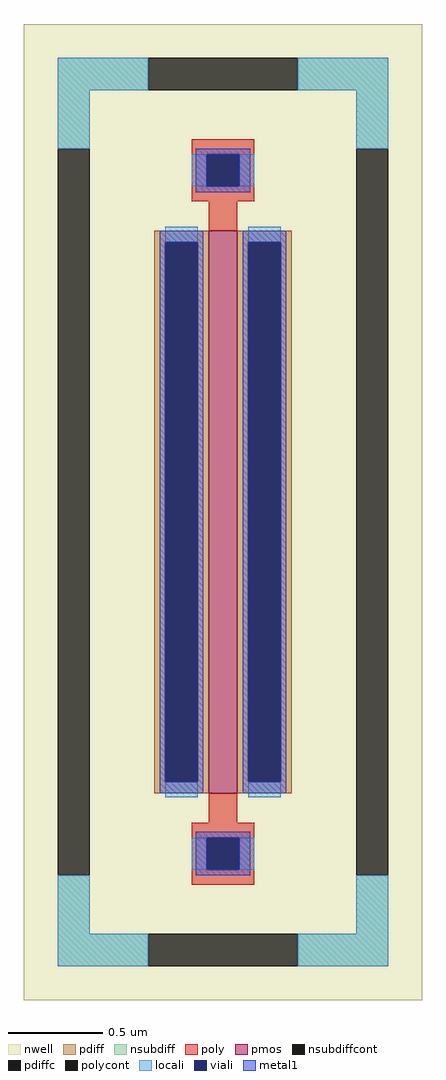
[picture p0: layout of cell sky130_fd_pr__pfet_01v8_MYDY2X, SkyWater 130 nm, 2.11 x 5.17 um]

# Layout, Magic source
magic
tech sky130A
magscale 1 2
<< nwell >>
rect -211 -517 211 517
<< pmos >>
rect -15 -298 15 298
<< pdiff >>
rect -73 286 -15 298
rect -73 -286 -61 286
rect -27 -286 -15 286
rect -73 -298 -15 -286
rect 15 286 73 298
rect 15 -286 27 286
rect 61 -286 73 286
rect 15 -298 73 -286
<< pdiffc >>
rect -61 -286 -27 286
rect 27 -286 61 286
<< nsubdiff >>
rect -175 447 -79 481
rect 79 447 175 481
rect -175 385 -141 447
rect 141 385 175 447
rect -175 -447 -141 -385
rect 141 -447 175 -385
rect -175 -481 -79 -447
rect 79 -481 175 -447
<< nsubdiffcont >>
rect -79 447 79 481
rect -175 -385 -141 385
rect 141 -385 175 385
rect -79 -481 79 -447
<< poly >>
rect -33 379 33 395
rect -33 345 -17 379
rect 17 345 33 379
rect -33 329 33 345
rect -15 298 15 329
rect -15 -329 15 -298
rect -33 -345 33 -329
rect -33 -379 -17 -345
rect 17 -379 33 -345
rect -33 -395 33 -379
<< polycont >>
rect -17 345 17 379
rect -17 -379 17 -345
<< locali >>
rect -175 447 -79 481
rect 79 447 175 481
rect -175 385 -141 447
rect 141 385 175 447
rect -33 345 -17 379
rect 17 345 33 379
rect -61 286 -27 302
rect -61 -302 -27 -286
rect 27 286 61 302
rect 27 -302 61 -286
rect -33 -379 -17 -345
rect 17 -379 33 -345
rect -175 -447 -141 -385
rect 141 -447 175 -385
rect -175 -481 -79 -447
rect 79 -481 175 -447
<< viali >>
rect -17 345 17 379
rect -61 -286 -27 286
rect 27 -286 61 286
rect -17 -379 17 -345
<< metal1 >>
rect -29 379 29 385
rect -29 345 -17 379
rect 17 345 29 379
rect -29 339 29 345
rect -67 286 -21 298
rect -67 -286 -61 286
rect -27 -286 -21 286
rect -67 -298 -21 -286
rect 21 286 67 298
rect 21 -286 27 286
rect 61 -286 67 286
rect 21 -298 67 -286
rect -29 -345 29 -339
rect -29 -379 -17 -345
rect 17 -379 29 -345
rect -29 -385 29 -379
<< properties >>
string FIXED_BBOX -158 -464 158 464
string gencell sky130_fd_pr__pfet_01v8
string library sky130
string parameters w 2.98 l 0.15 m 1 nf 1 diffcov 100 polycov 100 guard 1 glc 1 grc 1 gtc 1 gbc 1 tbcov 100 rlcov 100 topc 1 botc 1 poverlap 0 doverlap 1 lmin 0.15 wmin 0.42 compatible {sky130_fd_pr__pfet_01v8  sky130_fd_pr__pfet_01v8_lvt sky130_fd_pr__pfet_01v8_hvt  sky130_fd_pr__pfet_g5v0d10v5} full_metal 1 viasrc 100 viadrn 100 viagate 100 viagb 0 viagr 0 viagl 0 viagt 0
<< end >>
